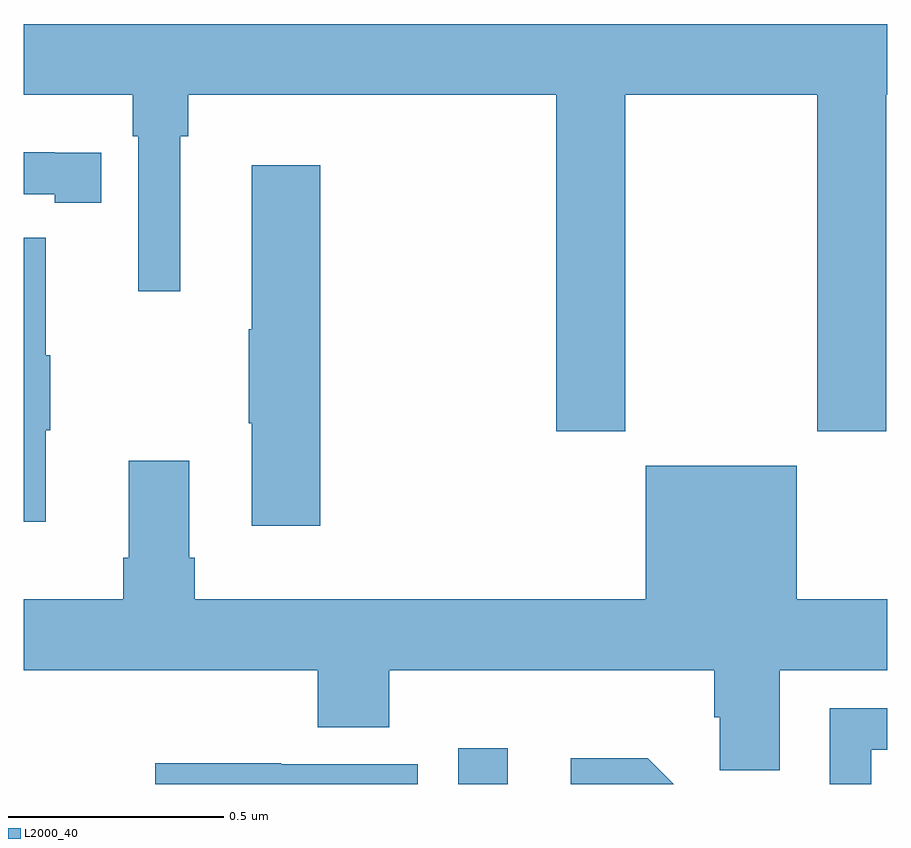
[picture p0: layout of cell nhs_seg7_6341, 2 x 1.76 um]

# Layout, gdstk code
import gdstk
lib = gdstk.Library(unit=1e-6, precision=1e-09)
def R(c, l, rs):  # rectangles x0, y0, x1, y1
    for r in rs: c.add(gdstk.rectangle(r[:2], r[2:], *l))
def P(c, l, *ps):  # polygons
    for p in ps: c.add(gdstk.Polygon(p, *l))
L2000_40 = (2000, 40)

nhs_seg7_6341 = lib.new_cell('nhs_seg7_6341')
R(nhs_seg7_6341, L2000_40, [(198.006,1019,198.121,1019.083)])
P(nhs_seg7_6341, L2000_40, [(198.393,1020.596),(198.838,1020.596),(198.838,1019.817),(198.998,1019.817),(198.998,1020.596),(199,1020.596),(199,1020.76),(197,1020.76),(197,1020.596),(197.252,1020.596),(197.252,1020.5),(197.265,1020.5),(197.265,1020.141),(197.362,1020.141),(197.362,1020.5),(197.381,1020.5),(197.381,1020.596),(198.233,1020.596),(198.233,1019.817),(198.393,1019.817)],
  [(197.18,1020.462),(197.072,1020.462),(197.072,1020.463),(197,1020.463),(197,1020.366),(197.072,1020.366),(197.072,1020.346),(197.18,1020.346)],
  [(197.687,1020.433),(197.528,1020.433),(197.528,1020.053),(197.521,1020.053),(197.521,1019.836),(197.528,1019.836),(197.528,1019.598),(197.687,1019.598)],
  [(197.051,1019.819),(197.062,1019.819),(197.062,1019.993),(197.051,1019.993),(197.051,1020.265),(197,1020.265),(197,1019.607),(197.051,1019.607)],
  [(198.751,1019.264),(199,1019.264),(199,1019.428),(198.79,1019.428),(198.79,1019.737),(198.44,1019.737),(198.44,1019.428),(197.396,1019.428),(197.396,1019.524),(197.383,1019.524),(197.383,1019.749),(197.243,1019.749),(197.243,1019.524),(197.231,1019.524),(197.231,1019.428),(197,1019.428),(197,1019.264),(197.681,1019.264),(197.681,1019.131),(197.846,1019.131),(197.846,1019.264),(198.599,1019.264),(198.599,1019.155),(198.612,1019.155),(198.612,1019.032),(198.751,1019.032)],
  [(198.963,1019.079),(199,1019.079),(199,1019.175),(198.867,1019.175),(198.867,1019),(198.963,1019)],
  [(198.445,1019.06),(198.267,1019.06),(198.267,1019),(198.505,1019)],
  [(197.913,1019.046),(197.597,1019.046),(197.597,1019.048),(197.305,1019.048),(197.305,1019),(197.913,1019)])

lib.write_gds('nhs_seg7_6341.gds')
